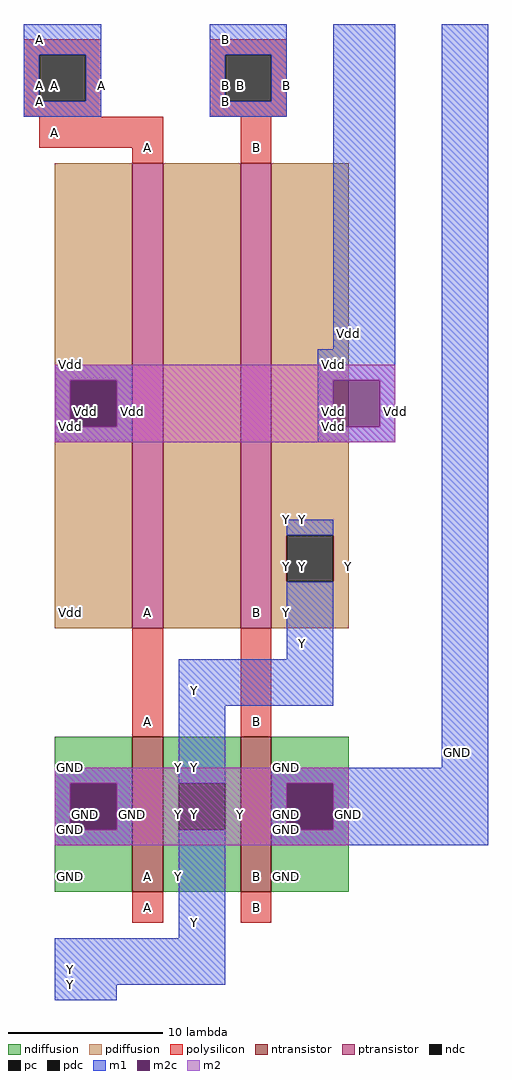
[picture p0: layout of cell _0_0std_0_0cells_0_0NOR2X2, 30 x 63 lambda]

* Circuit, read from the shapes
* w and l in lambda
.subckt _0_0std_0_0cells_0_0NOR2X2 Y B A
M1 Y A GND VSUBS nfet w=10 l=2
M2 GND B Y VSUBS nfet w=10 l=2
M3 n1 A Vdd NWELL pfet w=30 l=2
M4 Y B n1 NWELL pfet w=30 l=2
.ends

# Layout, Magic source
magic
tech sky130l
<< ndiffusion >>
rect 8 17 13 20
rect 8 14 9 17
rect 12 14 13 17
rect 8 10 13 14
rect 15 17 20 20
rect 15 14 16 17
rect 19 14 20 17
rect 15 10 20 14
rect 22 17 27 20
rect 22 14 23 17
rect 26 14 27 17
rect 22 10 27 14
<< ndc >>
rect 9 14 12 17
rect 16 14 19 17
rect 23 14 26 17
<< ntransistor >>
rect 13 10 15 20
rect 20 10 22 20
<< pdiffusion >>
rect 8 43 13 57
rect 8 40 9 43
rect 12 40 13 43
rect 8 27 13 40
rect 15 27 20 57
rect 22 33 27 57
rect 22 30 23 33
rect 26 30 27 33
rect 22 27 27 30
<< pdc >>
rect 9 40 12 43
rect 23 30 26 33
<< ptransistor >>
rect 13 27 15 57
rect 20 27 22 57
<< polysilicon >>
rect 6 64 11 65
rect 6 61 7 64
rect 10 61 11 64
rect 6 60 11 61
rect 18 64 23 65
rect 18 61 19 64
rect 22 61 23 64
rect 18 60 23 61
rect 7 58 15 60
rect 13 57 15 58
rect 20 57 22 60
rect 13 20 15 27
rect 20 20 22 27
rect 13 8 15 10
rect 20 8 22 10
<< pc >>
rect 7 61 10 64
rect 19 61 22 64
<< m1 >>
rect 6 64 11 66
rect 6 61 7 64
rect 10 61 11 64
rect 6 60 11 61
rect 18 64 23 66
rect 18 61 19 64
rect 22 61 23 64
rect 18 60 23 61
rect 26 45 30 66
rect 8 43 13 44
rect 8 40 9 43
rect 12 40 13 43
rect 8 39 13 40
rect 25 43 30 45
rect 25 40 26 43
rect 29 40 30 43
rect 25 39 30 40
rect 23 33 26 34
rect 23 25 26 30
rect 16 22 26 25
rect 8 17 13 18
rect 8 14 9 17
rect 12 14 13 17
rect 8 13 13 14
rect 16 17 19 22
rect 33 18 36 66
rect 16 7 19 14
rect 22 17 36 18
rect 22 14 23 17
rect 26 14 36 17
rect 22 13 36 14
rect 8 4 19 7
rect 8 3 12 4
<< m2c >>
rect 9 40 12 43
rect 26 40 29 43
rect 9 14 12 17
rect 23 14 26 17
<< m2 >>
rect 8 43 30 44
rect 8 40 9 43
rect 12 40 26 43
rect 29 40 30 43
rect 8 39 30 40
rect 8 17 27 18
rect 8 14 9 17
rect 12 14 23 17
rect 26 14 27 17
rect 8 13 27 14
<< labels >>
rlabel pdiffusion 27 31 27 31 3 Y
rlabel polysilicon 21 58 21 58 3 B
rlabel ndiffusion 23 11 23 11 3 GND
rlabel ndiffusion 20 15 20 15 3 Y
rlabel pdiffusion 23 28 23 28 3 Y
rlabel pdiffusion 23 31 23 31 3 Y
rlabel pdiffusion 23 34 23 34 3 Y
rlabel polysilicon 21 9 21 9 3 B
rlabel ntransistor 21 11 21 11 3 B
rlabel polysilicon 21 21 21 21 3 B
rlabel ptransistor 21 28 21 28 3 B
rlabel ndiffusion 16 11 16 11 3 Y
rlabel ndiffusion 16 15 16 15 3 Y
rlabel ndiffusion 16 18 16 18 3 Y
rlabel polysilicon 14 58 14 58 3 A
rlabel polysilicon 14 9 14 9 3 A
rlabel ntransistor 14 11 14 11 3 A
rlabel polysilicon 14 21 14 21 3 A
rlabel ptransistor 14 28 14 28 3 A
rlabel ndiffusion 9 11 9 11 3 GND
rlabel pdiffusion 9 28 9 28 3 Vdd
rlabel polysilicon 8 59 8 59 3 A
rlabel m1 34 19 34 19 3 GND
rlabel m1 27 46 27 46 3 Vdd
rlabel m1 23 15 23 15 3 GND
rlabel m1 23 18 23 18 3 GND
rlabel m1 26 40 26 40 3 Vdd
rlabel m1 26 41 26 41 3 Vdd
rlabel m1 26 44 26 44 3 Vdd
rlabel m1 24 26 24 26 3 Y
port 1 e
rlabel pdc 24 31 24 31 3 Y
port 1 e
rlabel m1 24 34 24 34 3 Y
port 1 e
rlabel m1 23 62 23 62 3 B
port 2 e
rlabel m1 23 14 23 14 3 GND
rlabel ndc 17 15 17 15 3 Y
port 1 e
rlabel pc 20 62 20 62 3 B
port 2 e
rlabel m1 19 61 19 61 3 B
port 2 e
rlabel m1 19 62 19 62 3 B
port 2 e
rlabel m1 19 65 19 65 3 B
port 2 e
rlabel m1 17 8 17 8 3 Y
port 1 e
rlabel m1 17 18 17 18 3 Y
port 1 e
rlabel m1 17 23 17 23 3 Y
port 1 e
rlabel m1 9 4 9 4 3 Y
port 1 e
rlabel m1 9 5 9 5 3 Y
port 1 e
rlabel m1 11 62 11 62 3 A
port 3 e
rlabel pc 8 62 8 62 3 A
port 3 e
rlabel m1 7 61 7 61 3 A
port 3 e
rlabel m1 7 62 7 62 3 A
port 3 e
rlabel m1 7 65 7 65 3 A
port 3 e
rlabel m2 27 15 27 15 3 GND
rlabel m2 30 41 30 41 3 Vdd
rlabel m2c 24 15 24 15 3 GND
rlabel m2c 27 41 27 41 3 Vdd
rlabel m2 13 15 13 15 3 GND
rlabel m2 13 41 13 41 3 Vdd
rlabel m2c 10 15 10 15 3 GND
rlabel m2c 10 41 10 41 3 Vdd
rlabel m2 9 14 9 14 3 GND
rlabel m2 9 15 9 15 3 GND
rlabel m2 9 18 9 18 3 GND
rlabel m2 9 40 9 40 3 Vdd
rlabel m2 9 41 9 41 3 Vdd
rlabel m2 9 44 9 44 3 Vdd
<< end >>
